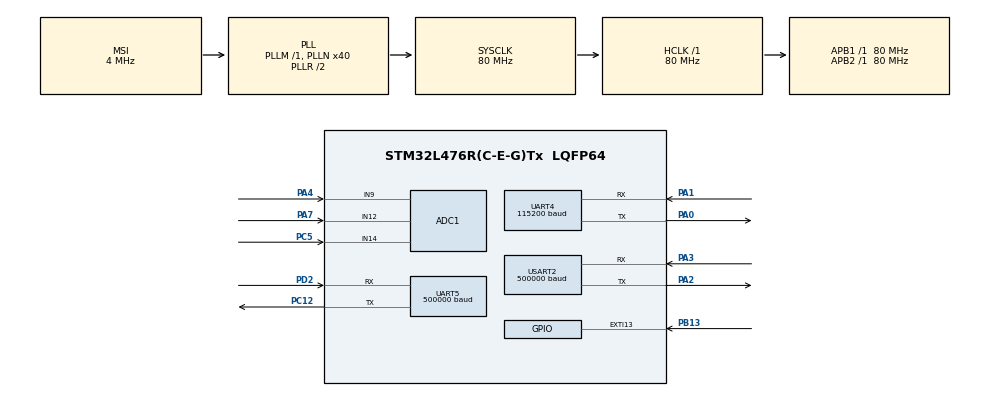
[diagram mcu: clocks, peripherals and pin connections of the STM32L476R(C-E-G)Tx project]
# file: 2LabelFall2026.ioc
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ADC1.Channel-0\#ChannelRegularConversion=ADC_CHANNEL_9
ADC1.Channel-1\#ChannelRegularConversion=ADC_CHANNEL_12
ADC1.Channel-2\#ChannelRegularConversion=ADC_CHANNEL_14
ADC1.DMAContinuousRequests=ENABLE
ADC1.ExternalTrigConv=ADC_EXTERNALTRIG_T3_TRGO
ADC1.NbrOfConversion=3
ADC1.NbrOfConversionFlag=1
ADC1.OffsetNumber-0\#ChannelRegularConversion=ADC_OFFSET_NONE
ADC1.OffsetNumber-1\#ChannelRegularConversion=ADC_OFFSET_NONE
ADC1.OffsetNumber-2\#ChannelRegularConversion=ADC_OFFSET_NONE
ADC1.Rank-0\#ChannelRegularConversion=1
ADC1.Rank-1\#ChannelRegularConversion=2
ADC1.Rank-2\#ChannelRegularConversion=3
ADC1.SamplingTime-0\#ChannelRegularConversion=ADC_SAMPLETIME_2CYCLES_5
ADC1.SamplingTime-1\#ChannelRegularConversion=ADC_SAMPLETIME_2CYCLES_5
ADC1.SamplingTime-2\#ChannelRegularConversion=ADC_SAMPLETIME_2CYCLES_5
ADC1.master=1
Dma.ADC1.0.Direction=DMA_PERIPH_TO_MEMORY
Dma.ADC1.0.Instance=DMA1_Channel1
Dma.ADC1.0.MemDataAlignment=DMA_MDATAALIGN_WORD
Dma.ADC1.0.MemInc=DMA_MINC_ENABLE
Dma.ADC1.0.Mode=DMA_CIRCULAR
Dma.ADC1.0.PeriphDataAlignment=DMA_PDATAALIGN_WORD
Dma.ADC1.0.PeriphInc=DMA_PINC_DISABLE
Dma.ADC1.0.Priority=DMA_PRIORITY_VERY_HIGH
Dma.Request0=ADC1
Dma.Request1=USART2_TX
Dma.Request2=UART4_TX
Dma.Request3=UART5_RX
Dma.Request4=UART5_TX
Dma.UART4_TX.2.Direction=DMA_MEMORY_TO_PERIPH
Dma.UART4_TX.2.Instance=DMA2_Channel3
Dma.UART4_TX.2.MemDataAlignment=DMA_MDATAALIGN_BYTE
Dma.UART4_TX.2.MemInc=DMA_MINC_ENABLE
Dma.UART4_TX.2.Mode=DMA_NORMAL
Dma.UART4_TX.2.PeriphDataAlignment=DMA_PDATAALIGN_BYTE
Dma.UART4_TX.2.PeriphInc=DMA_PINC_DISABLE
Dma.UART4_TX.2.Priority=DMA_PRIORITY_LOW
Dma.UART5_RX.3.Direction=DMA_PERIPH_TO_MEMORY
Dma.UART5_RX.3.Instance=DMA2_Channel2
Dma.UART5_RX.3.MemDataAlignment=DMA_MDATAALIGN_BYTE
Dma.UART5_RX.3.MemInc=DMA_MINC_ENABLE
Dma.UART5_RX.3.Mode=DMA_CIRCULAR
Dma.UART5_RX.3.PeriphDataAlignment=DMA_PDATAALIGN_BYTE
Dma.UART5_RX.3.PeriphInc=DMA_PINC_DISABLE
Dma.UART5_RX.3.Priority=DMA_PRIORITY_LOW
Dma.UART5_TX.4.Direction=DMA_MEMORY_TO_PERIPH
Dma.UART5_TX.4.Instance=DMA2_Channel1
Dma.UART5_TX.4.MemDataAlignment=DMA_MDATAALIGN_BYTE
Dma.UART5_TX.4.MemInc=DMA_MINC_ENABLE
Dma.UART5_TX.4.Mode=DMA_NORMAL
Dma.UART5_TX.4.PeriphDataAlignment=DMA_PDATAALIGN_BYTE
Dma.UART5_TX.4.PeriphInc=DMA_PINC_DISABLE
Dma.UART5_TX.4.Priority=DMA_PRIORITY_LOW
Dma.USART2_TX.1.Direction=DMA_MEMORY_TO_PERIPH
Dma.USART2_TX.1.Instance=DMA1_Channel7
Dma.USART2_TX.1.MemDataAlignment=DMA_MDATAALIGN_BYTE
Dma.USART2_TX.1.MemInc=DMA_MINC_ENABLE
Dma.USART2_TX.1.Mode=DMA_NORMAL
Dma.USART2_TX.1.PeriphDataAlignment=DMA_PDATAALIGN_BYTE
Dma.USART2_TX.1.PeriphInc=DMA_PINC_DISABLE
Dma.USART2_TX.1.Priority=DMA_PRIORITY_LOW
Mcu.Family=STM32L4
Mcu.Name=STM32L476R(C-E-G)Tx
Mcu.Package=LQFP64
NVIC.DMA1_Channel1_IRQn=true\:0\:0\:false\:false\:true\:false\:true\:true
NVIC.DMA1_Channel7_IRQn=true\:0\:0\:false\:false\:true\:false\:true\:true
NVIC.DMA2_Channel1_IRQn=true\:0\:0\:false\:false\:true\:false\:true\:true
NVIC.DMA2_Channel2_IRQn=true\:0\:0\:false\:false\:true\:false\:true\:true
NVIC.DMA2_Channel3_IRQn=true\:0\:0\:false\:false\:true\:false\:true\:true
NVIC.EXTI15_10_IRQn=true\:14\:0\:true\:false\:true\:true\:true\:true
NVIC.PriorityGroup=NVIC_PRIORITYGROUP_4
NVIC.UART4_IRQn=true\:0\:0\:false\:false\:true\:true\:true\:true
NVIC.UART5_IRQn=true\:0\:0\:true\:false\:true\:true\:true\:true
NVIC.USART2_IRQn=true\:0\:0\:false\:false\:true\:true\:true\:true
PA0.Mode=Asynchronous
PA0.Signal=UART4_TX
PA1.Mode=Asynchronous
PA1.Signal=UART4_RX
PA2.Mode=Asynchronous
PA2.Signal=USART2_TX
PA3.Mode=Asynchronous
PA3.Signal=USART2_RX
PA4.Signal=ADCx_IN9
PA7.Signal=ADCx_IN12
PB13.GPIO_ModeDefaultEXTI=GPIO_MODE_IT_RISING_FALLING
PB13.GPIO_PuPd=GPIO_PULLDOWN
PB13.Signal=GPXTI13
PC12.Mode=Asynchronous
PC12.Signal=UART5_TX
PC5.Signal=ADCx_IN14
PD2.Mode=Asynchronous
PD2.Signal=UART5_RX
ProjectManager.HeapSize=0x200
ProjectManager.StackSize=0x400
ProjectManager.TargetToolchain=STM32CubeIDE
RCC.ADCFreq_Value=32000000
RCC.AHBFreq_Value=80000000
RCC.APB1Freq_Value=80000000
RCC.APB1TimFreq_Value=80000000
RCC.APB2Freq_Value=80000000
RCC.APB2TimFreq_Value=80000000
RCC.CortexFreq_Value=80000000
RCC.HCLKFreq_Value=80000000
RCC.HSE_VALUE=8000000
RCC.HSI_VALUE=16000000
RCC.LSE_VALUE=32768
RCC.MSI_VALUE=4000000
RCC.PLLN=40
RCC.PLLSAI1N=16
RCC.SYSCLKFreq_VALUE=80000000
RCC.SYSCLKSource=RCC_SYSCLKSOURCE_PLLCLK
RCC.USBFreq_Value=32000000
RCC.VCOOutputFreq_Value=160000000
SH.ADCx_IN12.0=ADC1_IN12,IN12-Single-Ended
SH.ADCx_IN14.0=ADC1_IN14,IN14-Single-Ended
SH.ADCx_IN9.0=ADC1_IN9,IN9-Single-Ended
TIM3.Period=999
TIM3.Prescaler=79
TIM3.TIM_MasterOutputTrigger=TIM_TRGO_UPDATE
UART4.BaudRate=115200
UART5.BaudRate=500000
USART2.BaudRate=500000
USART2.VirtualMode-Asynchronous=VM_ASYNC
VP_TIM3_VS_ClockSourceINT.Mode=Internal
board=custom

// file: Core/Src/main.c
/* USER CODE BEGIN Header */
/**
  ******************************************************************************
  * @file           : main.c
  * @brief          : Main program body
  ******************************************************************************
  * @attention
  *
  * Copyright (c) 2025 STMicroelectronics.
  * All rights reserved.
  *
  * This software is licensed under terms that can be found in the LICENSE file
  * in the root directory of this software component.
  * If no LICENSE file comes with this software, it is provided AS-IS.
  *
  ******************************************************************************
  */
/* USER CODE END Header */
#include "main.h"

/* USER CODE BEGIN Includes */
#include <stdio.h>
#include <stdlib.h>
#include <string.h>
#include <errno.h>
#include <fcntl.h>
#include <time.h>
#include <assert.h>
#include <math.h>
#include "function.h"

/* USER CODE END Includes */

/* USER CODE BEGIN PD */
#define ADC_SCALE (3.0f / 4095.0f)  // ≈ 0.0007326
#define MIDPOINT  0.0f
/* USER CODE END PD */

ADC_HandleTypeDef hadc1;
DMA_HandleTypeDef hdma_adc1;

TIM_HandleTypeDef htim3;

UART_HandleTypeDef huart4;
UART_HandleTypeDef huart5;
UART_HandleTypeDef huart2;
DMA_HandleTypeDef hdma_uart4_tx;
DMA_HandleTypeDef hdma_uart5_rx;
DMA_HandleTypeDef hdma_uart5_tx;
DMA_HandleTypeDef hdma_usart2_tx;

void SystemClock_Config(void);
static void MX_GPIO_Init(void);
static void MX_DMA_Init(void);
static void MX_ADC1_Init(void);
static void MX_TIM3_Init(void);
static void MX_USART2_UART_Init(void);
static void MX_UART4_Init(void);
static void MX_UART5_Init(void);

/* USER CODE BEGIN 0 */

/******************** UART RX/TX + FLAGS ********************/
// Global receive buffers
uint8_t  UART2_rxBuffer;
uint8_t  UART4_rxBuffer;
uint8_t  UART5_rxBuffer[1];

// UART event flags
volatile uint8_t uart_flag  = 0;
volatile uint8_t uart_flag2 = 0;
volatile uint8_t uart_flag3 = 0;

// UART TX busy flags
volatile uint8_t uart2_tx_busy = 0;
volatile uint8_t uart4_tx_busy = 0;

// Temporary UART character / placeholder
volatile uint8_t temporyP = '0';

/******************** GENERAL STATE / COUNTERS ********************/
int flag = 0;

int count1 = 0;
int count2 = 0;
int count3 = 0;
int temp   = 0;

/******************** ADC / DATA BUFFERS ********************/
static uint32_t ADC_VAL1[300];

static int   indext1 = 0;
static float TestData1[300];

/******************** MODEL / NORMALIZATION PARAMS ********************/
static float Wg1[FEATURE_DIM * CLASS];
static float Cg1[CLASS];
static float xmean1[FEATURE_DIM];
static float xstd1[FEATURE_DIM];

/******************** TEST DATA (LARGER BUFFER) ********************/
#define TESTDATA_SIZE 150
uint32_t indext = 0;
float    TestData3[TESTDATA_SIZE];

/******************** MAJORITY VOTE / DECISION BUFFER ********************/
#define BUFFER_SIZE 5  // Number of recent predictions to keep
int decision_buffer[BUFFER_SIZE] = {0};  // Circular buffer
int buffer_index = 0;                    // Next position to write
int buffer_count = 0;                    // Number of valid entries

/******************** TX PRINT BUFFER ********************/
char TxData[2048];

void RunLDATest()
{
    int test_decision1 = LDA_test(TestData1, Wg1, Cg1, xmean1, xstd1);
    if (temp != test_decision1)
    {
        // Reset all counts on new decision
        count1 = 0;
        count2 = 0;
        count3 = 0;
        temp = test_decision1;
    }
    else
    {
        switch (test_decision1)
        {
            case 1:
                count1++;
                if (count1 > 5)
                {
                    	char message[32];
                    	sprintf(message, "%d", test_decision1);
                    	HAL_UART_Transmit_DMA(&huart4, (uint8_t *)message, strlen(message));
                        HAL_UART_Transmit_DMA(&huart2, (uint8_t *)message, strlen(message));
                        HAL_UART_Transmit_DMA(&huart5, (uint8_t *)message, strlen(message));
                        count1 = 0;
                }
                break;

            case 2:
                count2++;
                if (count2 > 2)
                {
                    	char message[32];
                    	sprintf(message, "%d", test_decision1);
                    	HAL_UART_Transmit_DMA(&huart4, (uint8_t *)message, strlen(message));
                        HAL_UART_Transmit_DMA(&huart2, (uint8_t *)message, strlen(message));
                        HAL_UART_Transmit_DMA(&huart5, (uint8_t *)message, strlen(message));
                        count2 = 0;
                }
                break;

            case 3:
                count3++;
                if (count3 > 2)
                {
                    	char message[32];
                    	sprintf(message, "%d", test_decision1);
                    	HAL_UART_Transmit_DMA(&huart4, (uint8_t *)message, strlen(message));
                        HAL_UART_Transmit_DMA(&huart2, (uint8_t *)message, strlen(message));
                        HAL_UART_Transmit_DMA(&huart5, (uint8_t *)message, strlen(message));
                        count3 = 0;
                }
                break;
            default:
                // Handle unexpected decision (e.g., out-of-range class)
                break;
        }
    }
}

/* USER CODE END 0 */

int main(void)
{

  /* USER CODE BEGIN 1 */

	// Auto-generated LDA model parameters

	// Auto-generated LDA model parameters

	float Wg_init[24] = {
	    1.319495, -1.319480,
	    0.592357, -0.592388,
	    -2.408097, 2.408100,
	    -0.487197, 0.487203,
	    -0.891735, 0.891738,
	    2.251956, -2.251962,
	    -0.579467, 0.579464,
	    -2.022173, 2.022175,
	    0.341062, -0.341040,
	    -0.932888, 0.932886,
	    -0.823319, 0.823313,
	    1.301088, -1.301091,
	};

	float Cg_init[2] = {
	    -1.242351, -1.242354
	};

	float xstd_init[12] = {
	    0.003603, 0.001341, 0.099904, 0.213236, 0.005489, 0.001813, 0.082969, 0.205395, 0.006323, 0.003273, 0.115288, 0.189063
	};

	float xmean_init[12] = {
	    0.006602, -0.007024, 0.077778, 0.303333, 0.008040, -0.006722, 0.062778, 0.275000, 0.010666, -0.005764, 0.157222, 0.480000
	};

  /* USER CODE END 1 */

  /* MCU Configuration--------------------------------------------------------*/

  /* Reset of all peripherals, Initializes the Flash interface and the Systick. */
  HAL_Init();

  /* USER CODE BEGIN Init */

  for (int i = 0; i < FEATURE_DIM * CLASS; i++)
  {
            Wg1[i] = Wg_init[i];
        }
        for (int i = 0; i < CLASS; i++) {
            Cg1[i] = Cg_init[i];
        }
        for (int i = 0; i < FEATURE_DIM; i++)
        {
            xmean1[i] = xmean_init[i];
            xstd1[i] = xstd_init[i];
        }

  /* USER CODE END Init */

  /* Configure the system clock */
  SystemClock_Config();

  /* Initialize all configured peripherals */
  MX_GPIO_Init();
  MX_DMA_Init();
  MX_ADC1_Init();
  MX_TIM3_Init();
  MX_USART2_UART_Init();
  MX_UART4_Init();
  MX_UART5_Init();
  /* USER CODE BEGIN 2 */

  if (HAL_ADCEx_Calibration_Start(&hadc1, ADC_SINGLE_ENDED) != HAL_OK)
   {
       Error_Handler();
   }
  HAL_UART_Receive_DMA (&huart5, UART5_rxBuffer, 1);
  HAL_UART_Receive_IT (&huart2, &UART2_rxBuffer, 1);
  //HAL_TIM_Base_Start(&htim3);
  //HAL_ADC_Start_DMA(&hadc1,ADC_VAL, 3);

  /* USER CODE END 2 */

  /* Infinite loop */
  while (1)
  {

  }
}

void SystemClock_Config(void)
{
  RCC_OscInitTypeDef RCC_OscInitStruct = {0};
  RCC_ClkInitTypeDef RCC_ClkInitStruct = {0};

  /** Configure the main internal regulator output voltage
  */
  if (HAL_PWREx_ControlVoltageScaling(PWR_REGULATOR_VOLTAGE_SCALE1) != HAL_OK)
  {
    Error_Handler();
  }

  /** Initializes the RCC Oscillators according to the specified parameters
  * in the RCC_OscInitTypeDef structure.
  */
  RCC_OscInitStruct.OscillatorType = RCC_OSCILLATORTYPE_MSI;
  RCC_OscInitStruct.MSIState = RCC_MSI_ON;
  RCC_OscInitStruct.MSICalibrationValue = 0;
  RCC_OscInitStruct.MSIClockRange = RCC_MSIRANGE_6;
  RCC_OscInitStruct.PLL.PLLState = RCC_PLL_ON;
  RCC_OscInitStruct.PLL.PLLSource = RCC_PLLSOURCE_MSI;
  RCC_OscInitStruct.PLL.PLLM = 1;
  RCC_OscInitStruct.PLL.PLLN = 40;
  RCC_OscInitStruct.PLL.PLLP = RCC_PLLP_DIV7;
  RCC_OscInitStruct.PLL.PLLQ = RCC_PLLQ_DIV2;
  RCC_OscInitStruct.PLL.PLLR = RCC_PLLR_DIV2;
  if (HAL_RCC_OscConfig(&RCC_OscInitStruct) != HAL_OK)
  {
    Error_Handler();
  }

  /** Initializes the CPU, AHB and APB buses clocks
  */
  RCC_ClkInitStruct.ClockType = RCC_CLOCKTYPE_HCLK|RCC_CLOCKTYPE_SYSCLK
                              |RCC_CLOCKTYPE_PCLK1|RCC_CLOCKTYPE_PCLK2;
  RCC_ClkInitStruct.SYSCLKSource = RCC_SYSCLKSOURCE_PLLCLK;
  RCC_ClkInitStruct.AHBCLKDivider = RCC_SYSCLK_DIV1;
  RCC_ClkInitStruct.APB1CLKDivider = RCC_HCLK_DIV1;
  RCC_ClkInitStruct.APB2CLKDivider = RCC_HCLK_DIV1;

  if (HAL_RCC_ClockConfig(&RCC_ClkInitStruct, FLASH_LATENCY_4) != HAL_OK)
  {
    Error_Handler();
  }
}

static void MX_ADC1_Init(void)
{

  ADC_MultiModeTypeDef multimode = {0};
  ADC_ChannelConfTypeDef sConfig = {0};

  /** Common config
  */
  hadc1.Instance = ADC1;
  hadc1.Init.ClockPrescaler = ADC_CLOCK_ASYNC_DIV1;
  hadc1.Init.Resolution = ADC_RESOLUTION_12B;
  hadc1.Init.DataAlign = ADC_DATAALIGN_RIGHT;
  hadc1.Init.ScanConvMode = ADC_SCAN_ENABLE;
  hadc1.Init.EOCSelection = ADC_EOC_SINGLE_CONV;
  hadc1.Init.LowPowerAutoWait = DISABLE;
  hadc1.Init.ContinuousConvMode = DISABLE;
  hadc1.Init.NbrOfConversion = 3;
  hadc1.Init.DiscontinuousConvMode = DISABLE;
  hadc1.Init.ExternalTrigConv = ADC_EXTERNALTRIG_T3_TRGO;
  hadc1.Init.ExternalTrigConvEdge = ADC_EXTERNALTRIGCONVEDGE_RISING;
  hadc1.Init.DMAContinuousRequests = ENABLE;
  hadc1.Init.Overrun = ADC_OVR_DATA_PRESERVED;
  hadc1.Init.OversamplingMode = DISABLE;
  if (HAL_ADC_Init(&hadc1) != HAL_OK)
  {
    Error_Handler();
  }

  /** Configure the ADC multi-mode
  */
  multimode.Mode = ADC_MODE_INDEPENDENT;
  if (HAL_ADCEx_MultiModeConfigChannel(&hadc1, &multimode) != HAL_OK)
  {
    Error_Handler();
  }

  /** Configure Regular Channel
  */
  sConfig.Channel = ADC_CHANNEL_9;
  sConfig.Rank = ADC_REGULAR_RANK_1;
  sConfig.SamplingTime = ADC_SAMPLETIME_2CYCLES_5;
  sConfig.SingleDiff = ADC_SINGLE_ENDED;
  sConfig.OffsetNumber = ADC_OFFSET_NONE;
  sConfig.Offset = 0;
  if (HAL_ADC_ConfigChannel(&hadc1, &sConfig) != HAL_OK)
  {
    Error_Handler();
  }

  /** Configure Regular Channel
  */
  sConfig.Channel = ADC_CHANNEL_12;
  sConfig.Rank = ADC_REGULAR_RANK_2;
  if (HAL_ADC_ConfigChannel(&hadc1, &sConfig) != HAL_OK)
  {
    Error_Handler();
  }

  /** Configure Regular Channel
  */
  sConfig.Channel = ADC_CHANNEL_14;
  sConfig.Rank = ADC_REGULAR_RANK_3;
  if (HAL_ADC_ConfigChannel(&hadc1, &sConfig) != HAL_OK)
  {
    Error_Handler();
  }

}

static void MX_TIM3_Init(void)
{

  TIM_ClockConfigTypeDef sClockSourceConfig = {0};
  TIM_MasterConfigTypeDef sMasterConfig = {0};

  htim3.Instance = TIM3;
  htim3.Init.Prescaler = 79;
  htim3.Init.CounterMode = TIM_COUNTERMODE_UP;
  htim3.Init.Period = 999;
  htim3.Init.ClockDivision = TIM_CLOCKDIVISION_DIV1;
  htim3.Init.AutoReloadPreload = TIM_AUTORELOAD_PRELOAD_DISABLE;
  if (HAL_TIM_Base_Init(&htim3) != HAL_OK)
  {
    Error_Handler();
  }
  sClockSourceConfig.ClockSource = TIM_CLOCKSOURCE_INTERNAL;
  if (HAL_TIM_ConfigClockSource(&htim3, &sClockSourceConfig) != HAL_OK)
  {
    Error_Handler();
  }
  sMasterConfig.MasterOutputTrigger = TIM_TRGO_UPDATE;
  sMasterConfig.MasterSlaveMode = TIM_MASTERSLAVEMODE_DISABLE;
  if (HAL_TIMEx_MasterConfigSynchronization(&htim3, &sMasterConfig) != HAL_OK)
  {
    Error_Handler();
  }

}

static void MX_UART4_Init(void)
{

  huart4.Instance = UART4;
  huart4.Init.BaudRate = 115200;
  huart4.Init.WordLength = UART_WORDLENGTH_8B;
  huart4.Init.StopBits = UART_STOPBITS_1;
  huart4.Init.Parity = UART_PARITY_NONE;
  huart4.Init.Mode = UART_MODE_TX_RX;
  huart4.Init.HwFlowCtl = UART_HWCONTROL_NONE;
  huart4.Init.OverSampling = UART_OVERSAMPLING_16;
  huart4.Init.OneBitSampling = UART_ONE_BIT_SAMPLE_DISABLE;
  huart4.AdvancedInit.AdvFeatureInit = UART_ADVFEATURE_NO_INIT;
  if (HAL_UART_Init(&huart4) != HAL_OK)
  {
    Error_Handler();
  }

}

static void MX_UART5_Init(void)
{

  huart5.Instance = UART5;
  huart5.Init.BaudRate = 500000;
  huart5.Init.WordLength = UART_WORDLENGTH_8B;
  huart5.Init.StopBits = UART_STOPBITS_1;
  huart5.Init.Parity = UART_PARITY_NONE;
  huart5.Init.Mode = UART_MODE_TX_RX;
  huart5.Init.HwFlowCtl = UART_HWCONTROL_NONE;
  huart5.Init.OverSampling = UART_OVERSAMPLING_16;
  huart5.Init.OneBitSampling = UART_ONE_BIT_SAMPLE_DISABLE;
  huart5.AdvancedInit.AdvFeatureInit = UART_ADVFEATURE_NO_INIT;
  if (HAL_UART_Init(&huart5) != HAL_OK)
  {
    Error_Handler();
  }

}

static void MX_USART2_UART_Init(void)
{

  huart2.Instance = USART2;
  huart2.Init.BaudRate = 500000;
  huart2.Init.WordLength = UART_WORDLENGTH_8B;
  huart2.Init.StopBits = UART_STOPBITS_1;
  huart2.Init.Parity = UART_PARITY_NONE;
  huart2.Init.Mode = UART_MODE_TX_RX;
  huart2.Init.HwFlowCtl = UART_HWCONTROL_NONE;
  huart2.Init.OverSampling = UART_OVERSAMPLING_16;
  huart2.Init.OneBitSampling = UART_ONE_BIT_SAMPLE_DISABLE;
  huart2.AdvancedInit.AdvFeatureInit = UART_ADVFEATURE_NO_INIT;
  if (HAL_UART_Init(&huart2) != HAL_OK)
  {
    Error_Handler();
  }

}

static void MX_DMA_Init(void)
{

  /* DMA controller clock enable */
  __HAL_RCC_DMA1_CLK_ENABLE();
  __HAL_RCC_DMA2_CLK_ENABLE();

  /* DMA interrupt init */
  /* DMA1_Channel1_IRQn interrupt configuration */
  HAL_NVIC_SetPriority(DMA1_Channel1_IRQn, 0, 0);
  HAL_NVIC_EnableIRQ(DMA1_Channel1_IRQn);
  /* DMA1_Channel7_IRQn interrupt configuration */
  HAL_NVIC_SetPriority(DMA1_Channel7_IRQn, 0, 0);
  HAL_NVIC_EnableIRQ(DMA1_Channel7_IRQn);
  /* DMA2_Channel1_IRQn interrupt configuration */
  HAL_NVIC_SetPriority(DMA2_Channel1_IRQn, 0, 0);
  HAL_NVIC_EnableIRQ(DMA2_Channel1_IRQn);
  /* DMA2_Channel2_IRQn interrupt configuration */
  HAL_NVIC_SetPriority(DMA2_Channel2_IRQn, 0, 0);
  HAL_NVIC_EnableIRQ(DMA2_Channel2_IRQn);
  /* DMA2_Channel3_IRQn interrupt configuration */
  HAL_NVIC_SetPriority(DMA2_Channel3_IRQn, 0, 0);
  HAL_NVIC_EnableIRQ(DMA2_Channel3_IRQn);

}

static void MX_GPIO_Init(void)
{
  GPIO_InitTypeDef GPIO_InitStruct = {0};

  /* GPIO Ports Clock Enable */
  __HAL_RCC_GPIOA_CLK_ENABLE();
  __HAL_RCC_GPIOC_CLK_ENABLE();
  __HAL_RCC_GPIOB_CLK_ENABLE();
  __HAL_RCC_GPIOD_CLK_ENABLE();

  /*Configure GPIO pin : PB13 */
  GPIO_InitStruct.Pin = GPIO_PIN_13;
  GPIO_InitStruct.Mode = GPIO_MODE_IT_RISING_FALLING;
  GPIO_InitStruct.Pull = GPIO_PULLDOWN;
  HAL_GPIO_Init(GPIOB, &GPIO_InitStruct);

  /* EXTI interrupt init*/
  HAL_NVIC_SetPriority(EXTI15_10_IRQn, 14, 0);
  HAL_NVIC_EnableIRQ(EXTI15_10_IRQn);

}

/* USER CODE BEGIN 4 */

void HAL_GPIO_EXTI_Callback(uint16_t GPIO_Pin)
{
    if (GPIO_Pin == GPIO_PIN_13)
    {
        temporyP = (HAL_GPIO_ReadPin(GPIOB, GPIO_PIN_13) == GPIO_PIN_SET) ? '1' : '0';
    }
}

void HAL_UART_RxCpltCallback(UART_HandleTypeDef *huart)
{
    /* ===== USART2: commands from PC (z, x, c, etc.) ===== */
    if (huart->Instance == USART2)
    {
        HAL_UART_Transmit(&huart2, (uint8_t *)"UART2 received: ", 16, 100);
        HAL_UART_Transmit(&huart2, &UART2_rxBuffer, 1, 100);
        HAL_UART_Transmit(&huart2, (uint8_t *)"\r\n", 2, 100);

        if (UART2_rxBuffer == 'z') {
            HAL_TIM_Base_Start(&htim3);
            HAL_ADC_Start_DMA(&hadc1, ADC_VAL1, 300);
            indext1    = 0;
            uart_flag  = 1;
            uart_flag2 = 0;
            uart_flag3 = 0;

        }
        else if (UART2_rxBuffer == 'x') {
            HAL_TIM_Base_Start(&htim3);
            HAL_ADC_Start_DMA(&hadc1, ADC_VAL1, 300);
            indext1    = 0;
            uart_flag  = 0;
            uart_flag2 = 1;
            uart_flag3 = 0;

        }
        else if (UART2_rxBuffer == 'c') {
            HAL_TIM_Base_Start(&htim3);
            HAL_ADC_Start_DMA(&hadc1, ADC_VAL1, 300);
            indext1    = 0;
            uart_flag  = 0;
            uart_flag2 = 0;
            uart_flag3 = 1;

            // Start UART5 DMA RX (first time)
            HAL_UART_Receive_DMA(&huart5, UART5_rxBuffer, 1);
        }
        else {
            HAL_TIM_Base_Stop(&htim3);
            HAL_ADC_Stop_DMA(&hadc1);
            indext1    = 0;
            uart_flag  = 0;
            uart_flag2 = 0;
            uart_flag3 = 0;

        }

        // Re-arm RX on USART2
        HAL_UART_Receive_IT(&huart2, &UART2_rxBuffer, 1);
    }

    /* ===== UART5: predictions coming from the other board ===== */
    else if (huart->Instance == UART5)
    {
        // Now it's safe: DMA finished for UART5, new byte is valid
    	uint8_t c = UART5_rxBuffer[0];
        if (c >= '0' && c <= '9')   // or (c == '1' || c == '2' || c == '3')
          {
              temporyP = c;
          }
        HAL_UART_Receive_DMA(&huart5, UART5_rxBuffer, 1);
    }
}

void HAL_ADC_ConvHalfCpltCallback(ADC_HandleTypeDef *hadc)
{

    if (uart_flag == 1)
    {
    	for (int i = 0; i < 150; i++)
    	    	    {
    	    	        TestData3[i] = ADC_VAL1[i];
    	    	    }

    	    	    // --- 2. Format into comma-separated string triplets
    	    	    char *ptr = TxData;
    	    	    for (int i = 0; i < 150; i += 3)
    	    	    {
    	    	        if (i + 2 < 150)
    	    	        {
    	    	        	int len = sprintf(ptr,
    	    	        			           "%d,%d,%d,%c\r\n",
    	    	        	                  (int)TestData3[i],
    	    	        	                  (int)TestData3[i + 1],
    	    	        	                  (int)TestData3[i + 2],
    	    	        	                  (char)temporyP);

    	    	            ptr += len;
    	    	        }
    	    	    }

    	    	    // --- 3. Transmit formatted data over UART using DMA
    	    	    uint32_t data_len = ptr - TxData;
    	    	    HAL_UART_Transmit_DMA(&huart2, (uint8_t *)TxData, data_len);
    	    	    HAL_UART_Receive_DMA(&huart5, UART5_rxBuffer, 1);

    }

    if (uart_flag3 == 1)
    {

    		for (int i = 0; i < 150; i++)
    	    {
    	        TestData3[i] = ADC_VAL1[i];
    	    }

    	    // --- 2. Format into comma-separated string triplets
    	    char *ptr = TxData;
    	    for (int i = 0; i < 150; i += 3)
    	    {
    	        if (i + 2 < 150)
    	        {
    	        	int len = sprintf(ptr,
    	        			           "%d,%d,%d,%c\r\n",
    	        	                  (int)TestData3[i],
    	        	                  (int)TestData3[i + 1],
    	        	                  (int)TestData3[i + 2],
    	        	                  (char)temporyP);

    	            ptr += len;
    	        }
    	    }

    	    // --- 3. Transmit formatted data over UART using DMA
    	    uint32_t data_len = ptr - TxData;
    	    HAL_UART_Transmit_DMA(&huart2, (uint8_t *)TxData, data_len);
    	    HAL_UART_Receive_DMA(&huart5, UART5_rxBuffer, 1);

    }

    if (uart_flag2 == 1)
        {

        // Store ADC values from first half of DMA buffer
        if (indext1 < 300)
        {
            for (int i = 0; i < 150; i++) {
                TestData1[indext1 + i] = ((float)ADC_VAL1[i] * ADC_SCALE) - MIDPOINT;

            }
            indext1 += 150;
        }
        else
        {
            // Shift old values
            for (int i = 0; i < 150; i++) {
                TestData1[i] = TestData1[i + 150];
            }

            // Add new samples to end
            for (int i = 0; i < 150; i++) {
                TestData1[150 + i] = ((float)ADC_VAL1[i] * ADC_SCALE) - MIDPOINT;
            }

            RunLDATest();  // Run your classifier here
        }
        }
}

void HAL_ADC_ConvCpltCallback(ADC_HandleTypeDef *hadc)
{

		  if (uart_flag == 1)
		      {

				for (int i = 0; i < 150; i++)
					 		      	    {
					 		      	        TestData3[i] = ADC_VAL1[i+150];
					 		      	    }

					 		      	    // --- 2. Format into comma-separated string triplets
					 		      	    char *ptr = TxData;
					 		      	    for (int i = 0; i < 150; i += 3)
					 		      	    {
					 		      	        if (i + 2 < 150)

					 		      	        {
					 		      	        	int len = sprintf(ptr, "%d,%d,%d,%c\r\n",
												(int)TestData3[i],
												(int)TestData3[i + 1],
												(int)TestData3[i + 2],
												(char)temporyP);
					 		      	            ptr += len;
					 		      	        }
					 		      	    }

					 		      	    // --- 3. Transmit formatted data over UART using DMA
					 		      	    uint32_t data_len = ptr - TxData;
					 		      	    HAL_UART_Transmit_DMA(&huart2, (uint8_t *)TxData, data_len);
					 		      	    HAL_UART_Receive_DMA(&huart5, UART5_rxBuffer, 1);

	    }

		  if (uart_flag3 == 1)
		 		      {

		 		      	for (int i = 0; i < 150; i++)
		 		      	    {
		 		      	        TestData3[i] = ADC_VAL1[i+150];
		 		      	    }

		 		      	    // --- 2. Format into comma-separated string triplets
		 		      	    char *ptr = TxData;
		 		      	    for (int i = 0; i < 150; i += 3)
		 		      	    {
		 		      	        if (i + 2 < 150)

		 		      	        {
		 		      	        	int len = sprintf(ptr, "%d,%d,%d,%c\r\n",
									(int)TestData3[i],
									(int)TestData3[i + 1],
									(int)TestData3[i + 2],
									(char)temporyP);
		 		      	            ptr += len;
		 		      	        }
		 		      	    }

		 		      	    // --- 3. Transmit formatted data over UART using DMA
		 		      	    uint32_t data_len = ptr - TxData;
		 		      	    HAL_UART_Transmit_DMA(&huart2, (uint8_t *)TxData, data_len);
		 		      	    HAL_UART_Receive_DMA(&huart5, UART5_rxBuffer, 1);
		 	    }

	  if (uart_flag2 == 1)
	  	    {

	    	 if (indext1 <300)
	    	    {
	    	        for (int i = 0; i < 150; i++)
	    	        {
	    	            TestData1[indext1 + i] = ((float)ADC_VAL1[i + 150] * ADC_SCALE) - MIDPOINT; // Fix: Correct indexing
	    	        }

	    	        indext1 += 150;
	    	    }
	    	    else
	    	    {
	    	        // Shift left (remove oldest values)
	    	        for (int i = 0; i < 150; i++)  // Fix: Stop at index 21 to prevent out-of-bounds
	    	        {
	    	            TestData1[i] = TestData1[i + 150];
	    	        }

	    	        // Add new values to the end
	    	        for (int i = 0; i < 150; i++)
	    	        {
	    	            TestData1[150 + i] = ((float)ADC_VAL1[i + 150] * ADC_SCALE) - MIDPOINT;

	    	        }
	    	        RunLDATest();

	    	    }
	  	    }
}

/* USER CODE END 4 */

void Error_Handler(void)
{
  __disable_irq();
  while (1)
  {
  }
}
